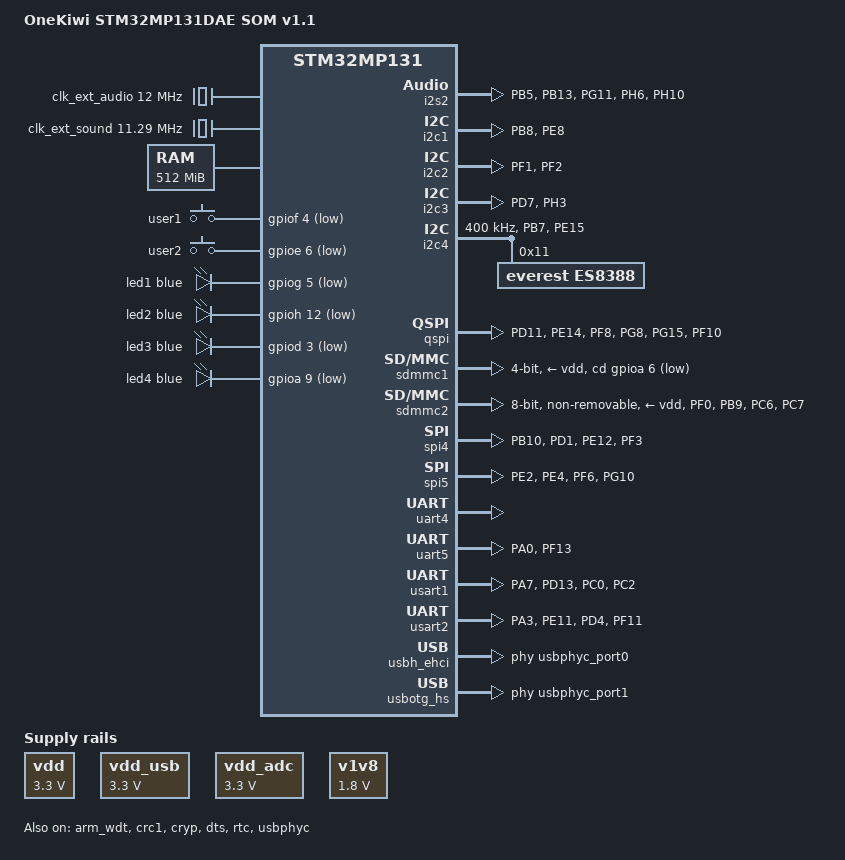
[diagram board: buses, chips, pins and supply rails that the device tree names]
// SPDX-License-Identifier: (GPL-2.0+ OR BSD-3-Clause)
/*
 * Copyright (C) STMicroelectronics 2021 - All Rights Reserved
 * Author: Alexandre Torgue <alexandre.torgue@foss.st.com> for STMicroelectronics.
 */

/dts-v1/;

#include <dt-bindings/gpio/gpio.h>
#include <dt-bindings/input/input.h>
#include <dt-bindings/leds/common.h>
//#include <dt-bindings/regulator/st,stm32mp13-regulator.h>
#include <dt-bindings/rtc/rtc-stm32.h>
#include "stm32mp131.dtsi"
#include "stm32mp13xf.dtsi"
#include "stm32mp13-pinctrl.dtsi"

&pinctrl {
	fdcan1_pins_x: fdcan1_mx-0 {
		pins1 {
			pinmux = <STM32_PINMUX('E', 10, AF9)>; /* FDCAN1_TX */
			bias-disable;
			drive-push-pull;
			slew-rate = <0>;
		};
		pins2 {
			pinmux = <STM32_PINMUX('G', 9, AF9)>; /* FDCAN1_RX */
			bias-disable;
		};
	};

	fdcan1_sleep_pins_x: fdcan1_sleep_mx-0 {
		pins {
			pinmux = <STM32_PINMUX('E', 10, ANALOG)>, /* FDCAN1_TX */
					 <STM32_PINMUX('G', 9, ANALOG)>; /* FDCAN1_RX */
		};
	};

	fdcan2_pins_x: fdcan2_mx-0 {
		pins1 {
			pinmux = <STM32_PINMUX('E', 0, AF9)>; /* FDCAN2_RX */
			bias-disable;
		};
		pins2 {
			pinmux = <STM32_PINMUX('G', 1, AF9)>; /* FDCAN2_TX */
			bias-disable;
			drive-push-pull;
			slew-rate = <0>;
		};
	};

	fdcan2_sleep_pins_x: fdcan2_sleep_mx-0 {
		pins {
			pinmux = <STM32_PINMUX('E', 0, ANALOG)>, /* FDCAN2_RX */
					 <STM32_PINMUX('G', 1, ANALOG)>; /* FDCAN2_TX */
		};
	};

	i2c1_pins_x: i2c1_mx-0 {
		pins {
			pinmux = <STM32_PINMUX('B', 8, AF4)>, /* I2C1_SCL */
					 <STM32_PINMUX('E', 8, AF5)>; /* I2C1_SDA */
			bias-disable;
			drive-open-drain;
			slew-rate = <0>;
		};
	};

	i2c1_sleep_pins_x: i2c1_sleep_mx-0 {
		pins {
			pinmux = <STM32_PINMUX('B', 8, ANALOG)>, /* I2C1_SCL */
					 <STM32_PINMUX('E', 8, ANALOG)>; /* I2C1_SDA */
		};
	};

	i2c2_pins_x: i2c2_mx-0 {
		pins {
			pinmux = <STM32_PINMUX('F', 1, AF4)>, /* I2C2_SDA */
					 <STM32_PINMUX('F', 2, AF4)>; /* I2C2_SCL */
			bias-disable;
			drive-open-drain;
			slew-rate = <0>;
		};
	};

	i2c2_sleep_pins_x: i2c2_sleep_mx-0 {
		pins {
			pinmux = <STM32_PINMUX('F', 1, ANALOG)>, /* I2C2_SDA */
					 <STM32_PINMUX('F', 2, ANALOG)>; /* I2C2_SCL */
		};
	};

	i2c3_pins_x: i2c3_mx-0 {
		pins {
			pinmux = <STM32_PINMUX('D', 7, AF5)>, /* I2C3_SDA */
					 <STM32_PINMUX('H', 3, AF4)>; /* I2C3_SCL */
			bias-disable;
			drive-open-drain;
			slew-rate = <0>;
		};
	};

	i2c3_sleep_pins_x: i2c3_sleep_mx-0 {
		pins {
			pinmux = <STM32_PINMUX('D', 7, ANALOG)>, /* I2C3_SDA */
					 <STM32_PINMUX('H', 3, ANALOG)>; /* I2C3_SCL */
		};
	};

	i2c4_pins_x: i2c4_mx-0 {
		pins {
			pinmux = <STM32_PINMUX('B', 7, AF6)>, /* I2C4_SDA */
					 <STM32_PINMUX('E', 15, AF6)>; /* I2C4_SCL */
			bias-disable;
			drive-open-drain;
			slew-rate = <0>;
		};
	};

	i2c4_sleep_pins_x: i2c3-sleep-0 {
		pins {
			pinmux = <STM32_PINMUX('E', 15, ANALOG)>, /* I2C5_SCL */
					 <STM32_PINMUX('B', 7, ANALOG)>; /* I2C5_SDA */
		};
	};

	sdmmc2_d47_pins_a: sdmmc2-d47-0 {
		pins {
			pinmux = <STM32_PINMUX('F', 0, AF10)>, /* SDMMC2_D4 */
				 <STM32_PINMUX('B', 9, AF10)>, /* SDMMC2_D5 */
				 <STM32_PINMUX('C', 6, AF10)>, /* SDMMC2_D6 */
				 <STM32_PINMUX('C', 7, AF10)>; /* SDMMC2_D7 */
			slew-rate = <1>;
			drive-push-pull;
			bias-pull-up;
		};
	};

	sdmmc2_d47_sleep_pins_a: sdmmc2-d47-sleep-0 {
		pins {
			pinmux = <STM32_PINMUX('F', 0, ANALOG)>, /* SDMMC2_D4 */
				 <STM32_PINMUX('B', 9, ANALOG)>, /* SDMMC2_D5 */
				 <STM32_PINMUX('C', 6, ANALOG)>, /* SDMMC2_D6 */
				 <STM32_PINMUX('C', 7, ANALOG)>; /* SDMMC2_D7 */
		};
	};

	i2s2_pins_x: i2s2_mx-0 {
		pins {
			pinmux = <STM32_PINMUX('B', 5, AF5)>, /* I2S2_SDI */
					 <STM32_PINMUX('B', 13, AF5)>, /* I2S2_WS */
					 <STM32_PINMUX('G', 11, AF5)>, /* I2S2_MCK */
					 <STM32_PINMUX('H', 6, AF5)>, /* I2S2_CK */
					 <STM32_PINMUX('H', 10, AF6)>; /* I2S2_SDO */
			bias-disable;
			drive-push-pull;
			slew-rate = <1>;
		};
	};

	i2s2_pins_sleep_x: i2s2_sleep_mx-0 {
		pins {
			pinmux = <STM32_PINMUX('B', 5, ANALOG)>, /* I2S2_SDI */
					 <STM32_PINMUX('B', 13, ANALOG)>, /* I2S2_WS */
					 <STM32_PINMUX('G', 11, ANALOG)>, /* I2S2_MCK */
					 <STM32_PINMUX('H', 6, ANALOG)>, /* I2S2_CK */
					 <STM32_PINMUX('H', 10, ANALOG)>; /* I2S2_SDO */
		};
	};

	quadspi_pins_x: quadspi_mx-0 {
		pins1 {
			pinmux = <STM32_PINMUX('D', 11, AF9)>, /* QUADSPI_BK1_IO2 */
					 <STM32_PINMUX('E', 14, AF9)>, /* QUADSPI_BK1_NCS */
					 <STM32_PINMUX('F', 8, AF10)>, /* QUADSPI_BK1_IO0 */
					 <STM32_PINMUX('G', 8, AF11)>, /* QUADSPI_BK1_IO3 */
					 <STM32_PINMUX('G', 15, AF9)>; /* QUADSPI_BK1_IO1 */
			bias-disable;
			drive-push-pull;
			slew-rate = <1>;
		};
		pins2 {
			pinmux = <STM32_PINMUX('F', 10, AF9)>; /* QUADSPI_CLK */
			bias-disable;
			drive-push-pull;
			slew-rate = <2>;
		};
	};

	quadspi_sleep_pins_x: quadspi_sleep_mx-0 {
		pins {
			pinmux = <STM32_PINMUX('D', 11, ANALOG)>, /* QUADSPI_BK1_IO2 */
					 <STM32_PINMUX('E', 14, ANALOG)>, /* QUADSPI_BK1_NCS */
					 <STM32_PINMUX('F', 8, ANALOG)>, /* QUADSPI_BK1_IO0 */
					 <STM32_PINMUX('F', 10, ANALOG)>, /* QUADSPI_CLK */
					 <STM32_PINMUX('G', 8, ANALOG)>, /* QUADSPI_BK1_IO3 */
					 <STM32_PINMUX('G', 15, ANALOG)>; /* QUADSPI_BK1_IO1 */
		};
	};

	spi4_pins_x: spi4_mx-0 {
		pins {
			pinmux = <STM32_PINMUX('B', 10, AF5)>, /* SPI4_NSS */
					 <STM32_PINMUX('D', 1, AF5)>, /* SPI4_MOSI */
					 <STM32_PINMUX('E', 12, AF5)>, /* SPI4_SCK */
					 <STM32_PINMUX('F', 3, AF5)>; /* SPI4_MISO */
			bias-disable;
			drive-push-pull;
			slew-rate = <1>;
		};
	};

	spi4_sleep_pins_x: spi4_sleep_mx-0 {
		pins {
			pinmux = <STM32_PINMUX('B', 10, ANALOG)>, /* SPI4_NSS */
					 <STM32_PINMUX('D', 1, ANALOG)>, /* SPI4_MOSI */
					 <STM32_PINMUX('E', 12, ANALOG)>, /* SPI4_SCK */
					 <STM32_PINMUX('F', 3, ANALOG)>; /* SPI4_MISO */
		};
	};

	spi5_pins_x: spi5_mx-0 {
		pins {
			pinmux = <STM32_PINMUX('E', 2, AF5)>, /* SPI5_MOSI */
					 <STM32_PINMUX('E', 4, AF1)>, /* SPI5_MISO */
					 <STM32_PINMUX('F', 6, AF5)>, /* SPI5_NSS */
					 <STM32_PINMUX('G', 10, AF5)>; /* SPI5_SCK */
			bias-disable;
			drive-push-pull;
			slew-rate = <1>;
		};
	};

	spi5_sleep_pins_x: spi5_sleep_mx-0 {
		pins {
			pinmux = <STM32_PINMUX('E', 2, ANALOG)>, /* SPI5_MOSI */
					 <STM32_PINMUX('E', 4, ANALOG)>, /* SPI5_MISO */
					 <STM32_PINMUX('F', 6, ANALOG)>, /* SPI5_NSS */
					 <STM32_PINMUX('G', 10, ANALOG)>; /* SPI5_SCK */
		};
	};

	uart5_pins_x: uart5_mx-0 {
		pins1 {
			pinmux = <STM32_PINMUX('A', 0, AF8)>; /* UART5_TX */
			bias-disable;
			drive-push-pull;
			slew-rate = <0>;
		};
		pins2 {
			pinmux = <STM32_PINMUX('F', 13, AF8)>; /* UART5_RX */
			bias-disable;
		};
	};

	uart5_idle_pins_x: uart5_idle_mx-0 {
		pins1 {
			pinmux = <STM32_PINMUX('A', 0, AF8)>; /* UART5_TX */
			bias-disable;
			drive-push-pull;
			slew-rate = <0>;
		};
		pins2 {
			pinmux = <STM32_PINMUX('F', 13, AF8)>; /* UART5_RX */
			bias-disable;
		};
	};

	uart5_sleep_pins_x: uart5_sleep_mx-0 {
		pins {
			pinmux = <STM32_PINMUX('A', 0, ANALOG)>, /* UART5_TX */
					 <STM32_PINMUX('F', 13, ANALOG)>; /* UART5_RX */
		};
	};

	usart2_pins_x: usart2_mx-0 {
		pins1 {
			pinmux = <STM32_PINMUX('A', 3, AF7)>, /* USART2_RX */
					 <STM32_PINMUX('E', 11, AF2)>; /* USART2_CTS */
			bias-disable;
		};
		pins2 {
			pinmux = <STM32_PINMUX('D', 4, AF3)>, /* USART2_RTS */
					 <STM32_PINMUX('F', 11, AF1)>; /* USART2_TX */
			bias-disable;
			drive-push-pull;
			slew-rate = <0>;
		};
	};

	usart1_pins_x: usart1_mx-0 {
		pins1 {
			pinmux = <STM32_PINMUX('A', 7, AF7)>, /* USART1_CTS */
					 <STM32_PINMUX('D', 13, AF7)>; /* USART1_RX */
			bias-disable;
		};
		pins2 {
			pinmux = <STM32_PINMUX('C', 0, AF7)>, /* USART1_TX */
					 <STM32_PINMUX('C', 2, AF7)>; /* USART1_RTS */
			bias-disable;
			drive-push-pull;
			slew-rate = <0>;
		};
	};

	usart1_idle_pins_x: usart1_idle_mx-0 {
		pins1 {
			pinmux = <STM32_PINMUX('A', 7, AF7)>, /* USART1_CTS */
					 <STM32_PINMUX('D', 13, AF7)>; /* USART1_RX */
			bias-disable;
		};
		pins2 {
			pinmux = <STM32_PINMUX('C', 0, AF7)>, /* USART1_TX */
					 <STM32_PINMUX('C', 2, AF7)>; /* USART1_RTS */
			bias-disable;
			drive-push-pull;
			slew-rate = <0>;
		};
	};

	usart1_sleep_pins_x: usart1_sleep_mx-0 {
		pins {
			pinmux = <STM32_PINMUX('A', 7, ANALOG)>, /* USART1_CTS */
					 <STM32_PINMUX('C', 0, ANALOG)>, /* USART1_TX */
					 <STM32_PINMUX('C', 2, ANALOG)>, /* USART1_RTS */
					 <STM32_PINMUX('D', 13, ANALOG)>; /* USART1_RX */
		};
	};

	usart2_idle_pins_x: usart2_idle_mx-0 {
		pins1 {
			pinmux = <STM32_PINMUX('A', 3, AF7)>, /* USART2_RX */
					 <STM32_PINMUX('E', 11, AF2)>; /* USART2_CTS */
			bias-disable;
		};
		pins2 {
			pinmux = <STM32_PINMUX('D', 4, AF3)>, /* USART2_RTS */
					 <STM32_PINMUX('F', 11, AF1)>; /* USART2_TX */
			bias-disable;
			drive-push-pull;
			slew-rate = <0>;
		};
	};

	usart2_sleep_pins_x: usart2_sleep_mx-0 {
		pins {
			pinmux = <STM32_PINMUX('A', 3, ANALOG)>, /* USART2_RX */
					 <STM32_PINMUX('D', 4, ANALOG)>, /* USART2_RTS */
					 <STM32_PINMUX('E', 11, ANALOG)>, /* USART2_CTS */
					 <STM32_PINMUX('F', 11, ANALOG)>; /* USART2_TX */
		};
	};
};

/ {
	model = "OneKiwi STM32MP131DAE SOM v1.1";
	compatible = "st,stm32mp131dae-som", "st,stm32mp131";

	aliases {
		serial0 = &uart4;
		serial1 = &usart1;
		serial2 = &usart2;
		serial3 = &uart5;
		i2c1 = &i2c1;
		i2c2 = &i2c2;
		i2c3 = &i2c3;
		i2c4 = &i2c4;
	};

	chosen {
		stdout-path = "serial0:115200n8";
		#address-cells = <1>;
		#size-cells = <1>;
		ranges;

		framebuffer {
			compatible = "simple-framebuffer";
			clocks = <&rcc LTDC_PX>;
			status = "disabled";
		};
	};
	
	clocks {
		clk_ext_audio: clk-ext-audio {
			#clock-cells = <0>;
			compatible = "fixed-clock";
			clock-frequency = <12000000>;
		};

		clk_ext_sound: clk-ext-sound {
			#clock-cells = <0>;
			compatible = "fixed-clock";
			clock-frequency = <11289600>;
		};
	};

	memory@c0000000 {
		device_type = "memory";
		reg = <0xc0000000 0x20000000>;
	};

	reserved-memory {
		#address-cells = <1>;
		#size-cells = <1>;
		ranges;

		optee@dd000000 {
			reg = <0xdd000000 0x3000000>;
			no-map;
		};
	};

	gpio-keys {
		compatible = "gpio-keys";

		user1 {
			label = "user1";
			linux,code = <BTN_1>;
			gpios = <&gpiof 4 (GPIO_ACTIVE_LOW | GPIO_PULL_UP)>;
		};

		user2 {
			label = "user2";
			linux,code = <BTN_2>;
			gpios = <&gpioe 6 (GPIO_ACTIVE_LOW | GPIO_PULL_UP)>;
		};
	};

	leds {
		compatible = "gpio-leds";

		led1 {
			label = "led1";
			function = LED_FUNCTION_HEARTBEAT;
			color = <LED_COLOR_ID_BLUE>;
			gpios = <&gpiog 5 GPIO_ACTIVE_LOW>;
			linux,default-trigger = "heartbeat";
			default-state = "off";
		};

		led2 {
			label = "led2";
			function = LED_FUNCTION_HEARTBEAT;
			color = <LED_COLOR_ID_BLUE>;
			gpios = <&gpioh 12 GPIO_ACTIVE_LOW>;
			linux,default-trigger = "heartbeat";
			default-state = "off";
		};

		led3 {
			label = "led3";
			function = LED_FUNCTION_HEARTBEAT;
			color = <LED_COLOR_ID_BLUE>;
			gpios = <&gpiod 3 GPIO_ACTIVE_LOW>;
			linux,default-trigger = "heartbeat";
			default-state = "off";
		};

		led4 {
			label = "led4";
			function = LED_FUNCTION_HEARTBEAT;
			color = <LED_COLOR_ID_BLUE>;
			gpios = <&gpioa 9 GPIO_ACTIVE_LOW>;
			linux,default-trigger = "heartbeat";
			default-state = "off";
		};
	};

	vdd: vdd {
		compatible = "regulator-fixed";
		regulator-name = "vdd";
		regulator-min-microvolt = <3300000>;
		regulator-max-microvolt = <3300000>;
		regulator-always-on;
	};

	vdd_usb: vdd_usb {
		compatible = "regulator-fixed";
		regulator-name = "vdd_usb";
		regulator-min-microvolt = <3300000>;
		regulator-max-microvolt = <3300000>;
		regulator-always-on;
	};

	vdd_adc: vdd_adc {
		compatible = "regulator-fixed";
		regulator-name = "vdd_adc";
		regulator-min-microvolt = <3300000>;
		regulator-max-microvolt = <3300000>;
		regulator-always-on;
	};

	v1v8: v1v8 {
		compatible = "regulator-fixed";
		regulator-name = "vdd";
		regulator-min-microvolt = <1800000>;
		regulator-max-microvolt = <1800000>;
		regulator-always-on;
	};

	/*
	sound: audio {
		compatible = "simple-audio-card";
		simple-audio-card,format = "i2s";
		simple-audio-card,bitclock-master = <&codec_dai>;
		simple-audio-card,frame-master = <&codec_dai>;
		simple-audio-card,mclk-fs = <256>;

		simple-audio-card,widgets =
					"Microphone", "Microphone Jack",
					"Headphone", "Headphone Jack",
					"Speaker", "Speaker Ext",
					"Line", "Line In Jack";
		simple-audio-card,routing =
				"MIC_IN", "Microphone Jack",
				"Microphone Jack", "Mic Bias",
				"Headphone Jack", "HP_OUT";

		cpu_dai: simple-audio-card,cpu {
			sound-dai = <&i2s2>;
		};

		codec_dai: simple-audio-card,codec {
			sound-dai = <&sgtl5000>;
			bitclock-master;
			frame-master;
			system-clock-frequency = <12000000>;
		};
	};*/

	sound: audio {
		status = "okay";
		compatible = "simple-audio-card";
		simple-audio-card,format = "i2s";
		simple-audio-card,name = "ES8388-SOUND-CARD";
		simple-audio-card,mclk-fs = <256>;
        simple-audio-card,bitclock-master = <&cpu_dai>;
        simple-audio-card,frame-master = <&cpu_dai>;

		simple-audio-card,widgets =
			"Headphone", "Headphone Jack",
			"Microphone", "Mic Jack";
		simple-audio-card,routing =
			"Headphone Jack",	"LOUT1",
			"Headphone Jack",	"ROUT1",
			"LINPUT1", "Mic Jack",
			"RINPUT1", "Mic Jack";

		cpu_dai:simple-audio-card,cpu {
				system-clock-frequency = <11289600>;
				sound-dai = <&i2s2>;
		};

		codec_dai:simple-audio-card,codec {
				sound-dai = <&es8388>;
				system-clock-frequency = <11289600>;
		};
	};

	/*
	wake_up {
		compatible = "gpio-keys";
		status = "okay";

		button {
			label = "wake-up";
			linux,code = <KEY_WAKEUP>;
			interrupts-extended = <&optee 0>;
			status = "okay";
		};
	};*/
};

/*
&adc_1 {
	pinctrl-names = "default";
	pinctrl-0 = <&adc1_usb_cc_pins_a>;
	vdda-supply = <&vdd_adc>;
	vref-supply = <&vdd_adc>;
	status = "okay";
	
	adc1: adc@0 {
		status = "okay";
		channel@6 {
			reg = <6>;
			st,min-sample-time-ns = <5000>;
		};
		channel@12 {
			reg = <12>;
			st,min-sample-time-ns = <5000>;
		};
	};
};*/

&arm_wdt {
	timeout-sec = <32>;
	status = "okay";
};

&crc1 {
	status = "okay";
};

&cryp {
	status = "okay";
};

/*
&dcmipp {
	status = "okay";
	pinctrl-names = "default", "sleep";
	pinctrl-0 = <&dcmipp_pins_a>;
	pinctrl-1 = <&dcmipp_sleep_pins_a>;
};*/

&dts {
	status = "okay";
};

&i2s2 {
	//#clock-cells = <0>;
	//clocks = <&rcc SPI2>, <&rcc SPI2_K>, <&scmi_clk CK_SCMI_PLL3_Q>, <&scmi_clk CK_SCMI_PLL3_R>;
	//clock-names = "pclk", "i2sclk", "x8k", "x11k";
	pinctrl-names = "default", "sleep";
	pinctrl-0 = <&i2s2_pins_x>;
	pinctrl-1 = <&i2s2_pins_sleep_x>;
	#sound-dai-cells = <0>;
	//i2s-ioswp;
	status = "okay";

    //i2s2_port: port {
        //i2s2_endpoint: endpoint {
            //remote-endpoint = <&sgtl5000_endpoint>;
			//remote-endpoint = <&es8388_endpoint>;
        //};
    //};
};

&i2c1 {
	pinctrl-names = "default", "sleep";
	pinctrl-0 = <&i2c1_pins_x>;
	pinctrl-1 = <&i2c1_sleep_pins_x>;
	status = "okay";
};

&i2c2 {
	pinctrl-names = "default", "sleep";
	pinctrl-0 = <&i2c2_pins_x>;
	pinctrl-1 = <&i2c2_sleep_pins_x>;
	status = "okay";
};

&i2c3 {
	pinctrl-names = "default", "sleep";
	pinctrl-0 = <&i2c3_pins_x>;
	pinctrl-1 = <&i2c3_sleep_pins_x>;
	status = "okay";
};

&i2c4 {
	pinctrl-names = "default", "sleep";
	pinctrl-0 = <&i2c4_pins_x>;
	pinctrl-1 = <&i2c4_sleep_pins_x>;
	i2c-scl-rising-time-ns = <300>;
	i2c-scl-falling-time-ns = <300>;
	clock-frequency = <400000>;
	status = "okay";
	/* spare dmas for other usage */
	/delete-property/dmas;
	/delete-property/dma-names;

	/*
	sgtl5000: audio-codec@a {
		status = "okay";
		#sound-dai-cells = <0>;
		compatible = "fsl,sgtl5000";
		reg = <0xa>;
		VDDIO-supply = <&vdd>;
		VDDA-supply = <&vdd>;
		VDDD-supply = <&v1v8>;
		clocks = <&clk_ext_audio>;
		port {
			#address-cells = <0x1>;
			#size-cells = <0x0>;
            port@0 {
                reg = <0>;
                sgtl5000_endpoint: endpoint {
					remote-endpoint = <&i2s2_endpoint>;
                };
		   };
		};
	};*/

	es8388: es8328@11 {
		compatible = "everest,es8388";
		clocks = <&clk_ext_sound>;
		clock-names = "mclk";
		#sound-dai-cells = <0>;
		reg = <0x11>;
	};

};

/*
&m_can1 {
	pinctrl-names = "default", "sleep";
	pinctrl-0 = <&fdcan1_pins_x>;
	pinctrl-1 = <&fdcan1_sleep_pins_x>;
	status = "okay";
};*/

/*
&m_can2 {
	pinctrl-names = "default", "sleep";
	pinctrl-0 = <&fdcan2_pins_x>;
	pinctrl-1 = <&fdcan2_sleep_pins_x>;
	status = "okay";
};*/

&qspi {
	pinctrl-names = "default", "sleep";
	pinctrl-0 = <&quadspi_pins_x>;
	pinctrl-1 = <&quadspi_sleep_pins_x>;
	status = "okay";
};

&rtc {
	st,lsco = <RTC_OUT2_RMP>;
	pinctrl-0 = <&rtc_out2_rmp_pins_a>;
	pinctrl-names = "default";
	status = "okay";
};

&sdmmc1 {
	pinctrl-names = "default", "opendrain", "sleep";
	pinctrl-0 = <&sdmmc1_b4_pins_a &sdmmc1_clk_pins_a>;
	pinctrl-1 = <&sdmmc1_b4_od_pins_a &sdmmc1_clk_pins_a>;
	pinctrl-2 = <&sdmmc1_b4_sleep_pins_a>;
	cd-gpios = <&gpioa 6 (GPIO_ACTIVE_LOW | GPIO_PULL_UP)>;
	disable-wp;
	st,neg-edge;
	bus-width = <4>;
	vmmc-supply = <&vdd>;
	status = "okay";
};

/* eMMC */
&sdmmc2 {
	pinctrl-names = "default", "opendrain", "sleep";
	pinctrl-0 = <&sdmmc2_b4_pins_a &sdmmc2_d47_pins_a &sdmmc2_clk_pins_a>;
	pinctrl-1 = <&sdmmc2_b4_od_pins_a &sdmmc2_d47_pins_a &sdmmc2_clk_pins_a>;
	pinctrl-2 = <&sdmmc2_b4_sleep_pins_a &sdmmc2_d47_sleep_pins_a>;
	non-removable;
	no-sd;
	no-sdio;
	broken-cd;
	st,neg-edge;
	bus-width = <8>;
	vmmc-supply = <&vdd>;
	vqmmc-supply = <&vdd>;
	mmc-ddr-3_3v;
	status = "okay";
};

&spi4 {
	pinctrl-names = "default", "sleep";
	pinctrl-0 = <&spi4_pins_x>;
	pinctrl-1 = <&spi4_sleep_pins_x>;
	status = "okay";
};

&spi5 {
	pinctrl-names = "default", "sleep";
	pinctrl-0 = <&spi5_pins_x>;
	pinctrl-1 = <&spi5_sleep_pins_x>;
	status = "okay";
};

&uart4 {
	pinctrl-names = "default", "sleep", "idle";
	pinctrl-0 = <&uart4_pins_a>;
	pinctrl-1 = <&uart4_sleep_pins_a>;
	pinctrl-2 = <&uart4_idle_pins_a>;
	/delete-property/dmas;
	/delete-property/dma-names;
	status = "okay";
};

&uart5 {
	pinctrl-names = "default", "idle", "sleep";
	pinctrl-0 = <&uart5_pins_x>;
	pinctrl-1 = <&uart5_idle_pins_x>;
	pinctrl-2 = <&uart5_sleep_pins_x>;
	status = "okay";
};

&usart1 {
	pinctrl-names = "default", "idle", "sleep";
	pinctrl-0 = <&usart1_pins_x>;
	pinctrl-1 = <&usart1_idle_pins_x>;
	pinctrl-2 = <&usart1_sleep_pins_x>;
	status = "okay";
};

&usart2 {
	pinctrl-names = "default", "idle", "sleep";
	pinctrl-0 = <&usart2_pins_x>;
	pinctrl-1 = <&usart2_idle_pins_x>;
	pinctrl-2 = <&usart2_sleep_pins_x>;
	status = "okay";
};

&usbh_ehci {
	phys = <&usbphyc_port0>;
	status = "okay";
	#address-cells = <1>;
	#size-cells = <0>;
};

&usbotg_hs {
	phys = <&usbphyc_port1 0>;
	phy-names = "usb2-phy";
	usb-role-switch;
	status = "okay";
};

&usbphyc {
	status = "okay";
};

&usbphyc_port0 {
	phy-supply = <&vdd_usb>;
	st,current-boost-microamp = <1000>;
	st,decrease-hs-slew-rate;
	st,tune-hs-dc-level = <2>;
	st,enable-hs-rftime-reduction;
	st,trim-hs-current = <11>;
	st,trim-hs-impedance = <2>;
	st,tune-squelch-level = <1>;
	st,enable-hs-rx-gain-eq;
	st,no-hs-ftime-ctrl;
	st,no-lsfs-sc;
};

&usbphyc_port1 {
	phy-supply = <&vdd_usb>;
	st,current-boost-microamp = <1000>;
	st,decrease-hs-slew-rate;
	st,tune-hs-dc-level = <2>;
	st,enable-hs-rftime-reduction;
	st,trim-hs-current = <11>;
	st,trim-hs-impedance = <2>;
	st,tune-squelch-level = <1>;
	st,enable-hs-rx-gain-eq;
	st,no-hs-ftime-ctrl;
	st,no-lsfs-sc;
};
